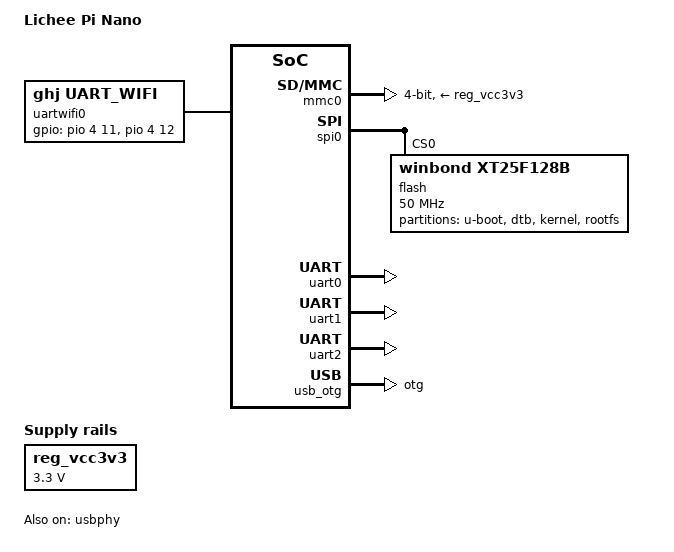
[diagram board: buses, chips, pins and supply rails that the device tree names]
// SPDX-License-Identifier: (GPL-2.0+ OR X11)
/*
 * Copyright 2018 Icenowy Zheng <icenowy@aosc.io>
 */

/dts-v1/;
#include "suniv-f1c100s.dtsi"

#include <dt-bindings/gpio/gpio.h>

/ {
	model = "Lichee Pi Nano";
	compatible = "licheepi,licheepi-nano", "allwinner,suniv-f1c100s",
		     "allwinner,suniv";

	aliases {
		serial0 = &uart0;
		spi0 = &spi0;
	};

	chosen {
		stdout-path = "serial0:115200n8";
	};

	reg_vcc3v3: vcc3v3 {
		compatible = "regulator-fixed";
		regulator-name = "vcc3v3";
		regulator-min-microvolt = <3300000>;
		regulator-max-microvolt = <3300000>;
	};

    uartwifi0: uart_wifi0 {
        status = "okay";
        compatible = "ghj,uart_wifi";
        pinctrl-names = "default";
        pinctrl-0 = <&esp8266_reset_pins>, <&esp8266_intr_pin>;
        gpios = <&pio 4 11  GPIO_ACTIVE_HIGH>, //PE11 reset
                <&pio 4 12  GPIO_ACTIVE_HIGH>; //PE12 intr
        tty_name="ttyS2";
        ssid="";
        password="";
    };
};

&mmc0 {
	vmmc-supply = <&reg_vcc3v3>;
	bus-width = <4>;
	broken-cd;
	status = "okay";
};

&otg_sram {
	status = "okay";
};

&spi0 {
    pinctrl-names = "default";
    pinctrl-0 = <&spi0_pins_a>;
    status = "okay";
    spi-max-frequency = <50000000>;
    flash: xt25f128b@0 {
        #address-cells = <1>;
        #size-cells = <1>;
        compatible = "winbond,xt25f128b", "jedec,spi-nor";
        reg = <0>;
        spi-max-frequency = <50000000>;
        partitions {
            compatible = "fixed-partitions";
            #address-cells = <1>;
            #size-cells = <1>;

            partition@0 {
                label = "u-boot";
                reg = <0x000000 0x100000>;
                //read-only;
            };

            partition@100000 {
                label = "dtb";
                reg = <0x100000 0x10000>;
                //read-only;
            };

            partition@110000 {
                label = "kernel";
                reg = <0x110000 0x400000>;
                //read-only;
            };

            partition@510000 {
                label = "rootfs";
                reg = <0x510000 0xAF0000>;
            };
        };
    };
};


&uart0 {
	pinctrl-names = "default";
	pinctrl-0 = <&uart0_pins_a>;
	status = "okay";
};
&uart1 {
	pinctrl-names = "default";
	pinctrl-0 = <&uart1_pins_a>;
	status = "okay";
};
&uart2 {
	pinctrl-names = "default";
	pinctrl-0 = <&uart2_pins>, <&uart2_rts_cts_pins>;
	status = "okay";
};
&usb_otg {
	dr_mode = "otg";
	status = "okay";
};

&usbphy {
	usb0_id_det-gpio = <&pio 4 2 GPIO_ACTIVE_HIGH>; /* PE2 */
	status = "okay";
};
